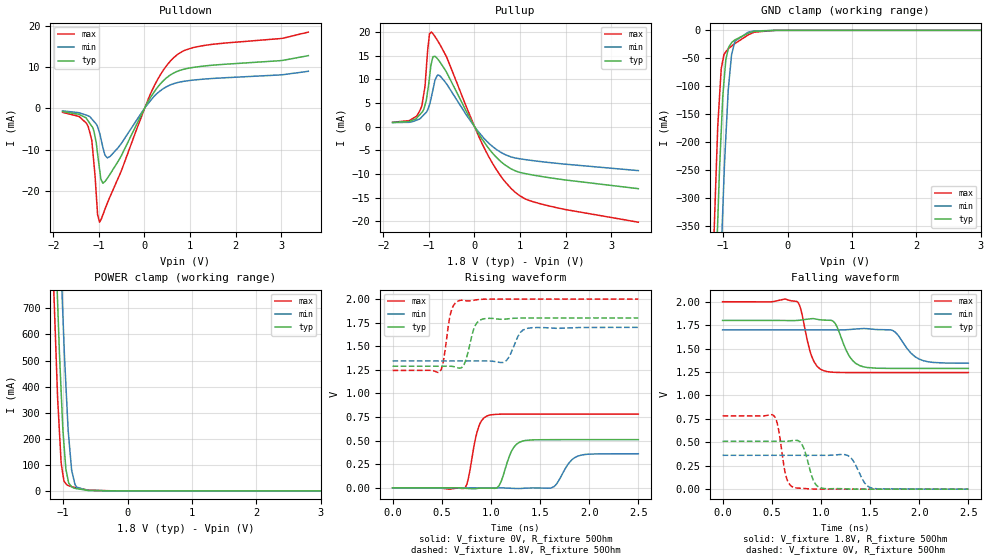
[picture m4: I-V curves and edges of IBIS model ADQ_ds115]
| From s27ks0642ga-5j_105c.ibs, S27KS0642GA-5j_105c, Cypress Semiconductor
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[Model]   ADQ_ds115
Model_type   I/O
Polarity   Non-Inverting
Enable   Active-High
Vinl = 0.54
Vinh = 1.26
Vmeas = 0.9
Vref = 0.9
Cref = 15pF
|   typ   min   max
C_comp   1.03pF   1.01pF   1.05pF
[Voltage Range]   1.8   1.7   2
[Temperature Range]   25   105   -40
[Pullup Reference]   1.8   1.7   2
[Pulldown Reference]   0   0   0
[Power Clamp Reference]   1.8   1.7   2
[GND Clamp Reference]   0   0   0
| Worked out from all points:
|   slope of the pulldown table from 0 to 0.27 V, typ, clamps not added: 55.4 ohm
|   slope of the pullup table from 0 to 0.27 V, typ, clamps not added: 66.4 ohm
|   falling waveform, V_fixture 1.8V, R_fixture 50Ohm: 20-80 % time 132ps typ, 162ps min, 104ps max; typ from 1.8 V to 1.29 V
|   rising waveform, V_fixture 0V, R_fixture 50Ohm: 20-80 % time 105ps typ, 130ps min, 87.9ps max; typ from 0 V to 0.511 V
|   rising waveform, V_fixture 1.8V, R_fixture 50Ohm: 20-80 % time 76ps typ, 91.1ps min, 65.5ps max; typ from 1.29 V to 1.8 V
|   falling waveform, V_fixture 0V, R_fixture 50Ohm: 20-80 % time 84.5ps typ, 105ps min, 69.8ps max; typ from 0.511 V to 0 V
[Pulldown]
|   Voltage   I(typ)   I(min)   I(max)
-1.8V     -786uA     -622.6uA   -977.6uA
-1.236V   -3.094mA   -1.843mA   -4.432mA
-1.158V   -4.335mA   -2.558mA   -7.709mA
-1.086V   -6.897mA   -3.492mA   -16.38mA
-1.03V    -11.04mA   -4.467mA   -25.79mA
-988mV    -14.73mA   -5.936mA   -27.6mA
-914.4mV  -18.15mA   -9.456mA   -25.82mA
-752.8mV  -15.89mA   -11.63mA   -21.3mA
154.8mV   3.056mA    2.161mA    4.063mA
650mV     8.609mA    6.01mA     12.36mA
1.118V    9.998mA    6.898mA    14.85mA
3.6V      12.77mA    8.975mA    18.48mA
[GND Clamp]
|   Voltage   I(typ)   I(min)   I(max)
-1.8V     -3.484A    -3.741A    -3.305A
-1.136V   -526.1mA   -802.2mA   -345mA
-1.084V   -340.8mA   -599.3mA   -172.2mA
-1.058V   -254.2mA   -499mA     -122.6mA
-1.026V   -171.7mA   -385.4mA   -66.5mA
-1.006V   -119.2mA   -322.6mA   -54.36mA
-957.6mV  -51.67mA   -189.4mA   -38.13mA
-921.1mV  -33.42mA   -106.8mA   -33.29mA
-870.1mV  -22.47mA   -44.43mA   -28.31mA
-815.4mV  -16.95mA   -19.2mA    -23.52mA
-608mV    -5.004mA   -3.138mA   -7.979mA
3.6V      0A         0A         0A
[Pullup]
|   Voltage   I(typ)   I(min)   I(max)
-1.8V     902.6uA    866.5uA    924.6uA
-1.432V   1.11mA     929.5uA    1.289mA
-1.158V   2.997mA    2.066mA    4.312mA
-1.086V   4.621mA    2.777mA    8.627mA
-988mV    10.46mA    4.644mA    19.64mA
-944.9mV  13.49mA    6.36mA     19.97mA
-868.4mV  14.84mA    9.842mA    19.03mA
-752.8mV  13.58mA    10.68mA    17.24mA
206mV     -3.161mA   -2.431mA   -4.335mA
813.6mV   -8.946mA   -6.404mA   -13.13mA
1.472V    -10.51mA   -7.38mA    -16.33mA
3.6V      -13.08mA   -9.268mA   -20.15mA
[POWER Clamp]
|   Voltage   I(typ)   I(min)   I(max)
-1.8V     6.849A     7.358A     6.488A
-1.158V   1.265A     1.82A      856.6mA
-1.136V   1.083A     1.647A     702.1mA
-1.086V   723.1mA    1.26A      355.9mA
-1.032V   386.1mA    854.1mA    111.7mA
-1.004V   235.2mA    675.7mA    64.3mA
-944mV    66.5mA     340.1mA    23.32mA
-921.6mV  39.14mA    230.5mA    20.7mA
-868.4mV  15.95mA    80.01mA    16.35mA
-791.9mV  8.591mA    15mA       11.99mA
-625.3mV  2.558mA    1.933mA    3.743mA
3.6V      0A         0A         0A
[Ramp]
R_load = 50
|   typ   min   max
dV/dt_r 3.0634E-01/1.0504E-10   2.1674E-01/1.2889E-10   4.6903E-01/8.7504E-11
dV/dt_f 3.0696E-01/1.3139E-10   2.1343E-01/1.6132E-10   4.5352E-01/1.0411E-10
[Falling Waveform]
V_fixture = 1.8V
V_fixture_min = 1.7V
V_fixture_max = 2V
R_fixture = 50Ohm
C_fixture = 0F
|   Time   V(typ)   V(min)   V(max)
0s        1.8V       1.7V       2V
755ps     1.8V       1.7V       2.004V
905ps     1.819V     1.7V       1.422V
1.03ns    1.804V     1.7V       1.264V
1.145ns   1.77V      1.699V     1.247V
1.29ns    1.417V     1.703V     1.244V
1.395ns   1.319V     1.712V     1.244V
1.73ns    1.289V     1.693V     1.244V
2.045ns   1.288V     1.37V      1.244V
2.5ns     1.288V     1.344V     1.244V
[Rising Waveform]
V_fixture = 0V
V_fixture_min = 0V
V_fixture_max = 0V
R_fixture = 50Ohm
C_fixture = 0F
|   Time   V(typ)   V(min)   V(max)
0s        0V         0V         0V
730ps     -3.82mV    0V         -5.048mV
880ps     -4.14mV    -15.88uV   658mV
985ps     -2.455mV   166.6uV    770.3mV
1.08ns    19.37mV    544.6uV    779.8mV
1.21ns    388.3mV    -4.978mV   781.3mV
1.325ns   496.3mV    -5.311mV   781.5mV
1.64ns    510.3mV    11.5mV     781.7mV
1.885ns   510.5mV    336.4mV    781.7mV
2.5ns     510.6mV    361.2mV    781.7mV
[Rising Waveform]
V_fixture = 1.8V
V_fixture_min = 1.7V
V_fixture_max = 2V
R_fixture = 50Ohm
C_fixture = 0F
|   Time   V(typ)   V(min)   V(max)
0s        1.288V     1.344V     1.244V
480ps     1.288V     1.344V     1.229V
590ps     1.289V     1.344V     1.847V
675ps     1.269V     1.344V     1.983V
730ps     1.312V     1.344V     1.984V
840ps     1.718V     1.344V     1.99V
920ps     1.789V     1.344V     1.998V
1.145ns   1.787V     1.338V     2V
1.37ns    1.8V       1.69V      2V
2.5ns     1.8V       1.7V       2V
[Falling Waveform]
|Gnd
V_fixture = 0V
V_fixture_min = 0V
V_fixture_max = 0V
R_fixture = 50Ohm
C_fixture = 0F
|   Time   V(typ)   V(min)   V(max)
0s        510.6mV    361.3mV    781.7mV
520ps     510.6mV    361.3mV    785.4mV
565ps     510.6mV    361.3mV    660.6mV
650ps     510.8mV    361.3mV    122.6mV
730ps     521.5mV    361.3mV    15.11mV
805ps     482mV      361.3mV    9.09mV
1.02ns    8.704mV    361.3mV    253.8uV
1.275ns   2.232mV    358.7mV    -991.6nV
1.515ns   62.23uV    13.32mV    -1.237uV
2.5ns     -651.7nV   -1.186uV   0V
